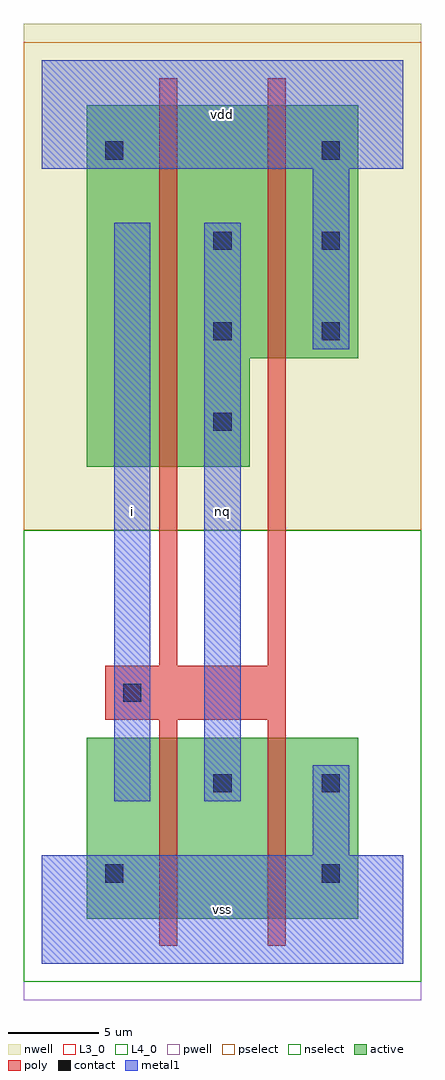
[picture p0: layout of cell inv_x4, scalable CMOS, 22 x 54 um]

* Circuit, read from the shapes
.subckt inv_x4 i nq vdd vss
M1 nq i vss VSUBS nfet w=10u l=1u m=2
M2 nq i vdd n1 pfet w=20u l=1u
M3 vdd i nq n1 pfet w=14u l=1u
.ends

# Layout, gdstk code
import gdstk
lib = gdstk.Library(unit=1e-6, precision=1e-09)
def R(c, l, rs):  # rectangles x0, y0, x1, y1
    for r in rs: c.add(gdstk.rectangle(r[:2], r[2:], *l))
def A(c, l, x, y, w, h, nx, ny, dx, dy):  # array of equal rectangles
    R(c, l, [(x+i*dx, y+j*dy, x+i*dx+w, y+j*dy+h) for i in range(nx) for j in range(ny)])
L3_0 = (3, 0)
L4_0 = (4, 0)
contact = (25, 0)
pwell = (41, 0)
nwell = (42, 0)
active = (43, 0)
pselect = (44, 0)
nselect = (45, 0)
poly = (46, 0)
metal1 = (49, 0)

inv_x4 = lib.new_cell('inv_x4')
R(inv_x4, L3_0, [(2.5,2.5,17.5,12.5)])
R(inv_x4, L4_0, [(2.5,27.5,11.5,33.5), (2.5,33.5,17.5,47.5)])
A(inv_x4, contact, 9.5, 29.5, 1, 1, 1, 3, 0, 5)
A(inv_x4, contact, 15.5, 34.5, 1, 1, 1, 3, 0, 5)
R(inv_x4, contact, [(3.5,4.5,4.5,5.5), (15.5,4.5,16.5,5.5), (9.5,9.5,10.5,10.5), (15.5,9.5,16.5,10.5), (4.5,14.5,5.5,15.5), (3.5,44.5,4.5,45.5)])
R(inv_x4, pwell, [(-1,-2,21,24)])
R(inv_x4, nwell, [(-1,24,21,52)])
R(inv_x4, active, [(2.5,2.5,17.5,12.5), (2.5,27.5,11.5,33.5), (2.5,33.5,17.5,47.5)])
R(inv_x4, pselect, [(-1,24,21,51)])
R(inv_x4, nselect, [(-1,-1,21,24)])
R(inv_x4, poly, [(6.5,1,7.5,13.5), (12.5,1,13.5,13.5), (3.5,13.5,13.5,16.5), (6.5,16.5,7.5,49), (12.5,16.5,13.5,49)])
R(inv_x4, metal1, [(0,0,20,6), (15,6,17,11), (4,9,6,41), (9,9,11,41), (15,34,17,44), (0,44,20,50)])
inv_x4.add(gdstk.Label('i', (5,25), layer=49, texttype=0))
inv_x4.add(gdstk.Label('vss', (10,3), layer=49, texttype=0))
inv_x4.add(gdstk.Label('nq', (10,25), layer=49, texttype=0))
inv_x4.add(gdstk.Label('vdd', (10,47), layer=49, texttype=0))

lib.write_gds('inv_x4.gds')
